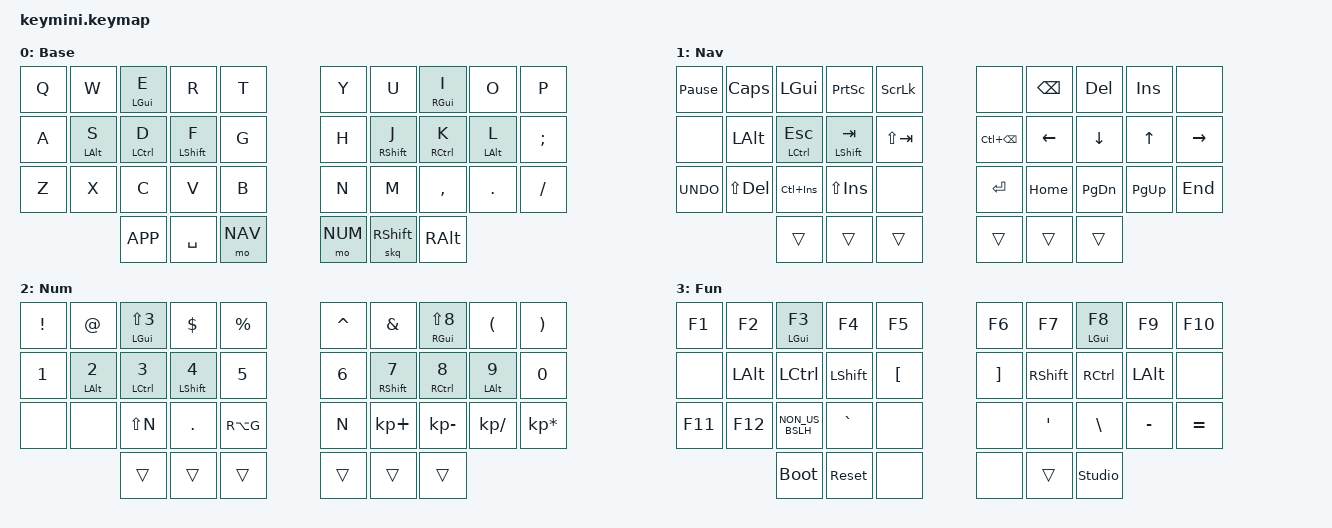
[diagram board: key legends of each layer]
/*
 * SPDX-License-Identifier: MIT
 */

#include <behaviors.dtsi>
#include <dt-bindings/zmk/keys.h>

#define DEF 0
#define NAV 1
#define NUM 2
#define FUN 3

/ {
	behaviors {
		hm: homerow_mods {
			compatible = "zmk,behavior-hold-tap";
			label = "Homerow Mods";
			#binding-cells = <2>;
			flavor = "tap-preferred";
			tapping-term-ms = <200>;
			bindings = <&kp>, <&kp>;
		};
		skq: sticky_key_quick_release {
			compatible = "zmk,behavior-sticky-key";
			label = "Sticky Key Quick Release";
			#binding-cells = <1>;
			bindings = <&kp>;
			release-after-ms = <1000>;
			quick-release;
			ignore-modifiers;
	       };
	};
	conditional_layers {
		compatible = "zmk,conditional-layers";
		tri_layer {
			if-layers = <1 2>;
			then-layer = <3>;
		};
	};

	keymap {
		compatible = "zmk,keymap";

		default_layer {
			display-name = "Base";
			bindings = <
	&kp Q         &kp W         &hm LGUI E    &kp R         &kp T             &kp Y         &kp U         &hm RGUI I    &kp O         &kp P
	&kp A         &hm LALT S    &hm LCTRL D   &hm LSHFT F   &kp G             &kp H         &hm RSHFT J   &hm RCTRL K   &hm LALT L    &kp SEMI
	&kp Z         &kp X         &kp C         &kp V         &kp B             &kp N         &kp M         &kp COMMA     &kp DOT       &kp FSLH
	                            &kp K_APP     &kp SPACE     &mo NAV           &mo NUM       &skq RSHFT    &kp RALT
			>;
		};

		nav_layer {
			display-name = "Nav";
			bindings = <
	&kp PAUSE_BREAK &kp CAPS    &kp LGUI      &kp PSCRN     &kp SLCK          &none         &kp BSPC      &kp DEL       &kp INS       &none
	&none           &kp LALT    &hm LCTRL ESC &hm LSHFT TAB &kp LS(TAB)       &kp LC(BSPC)  &kp LEFT      &kp DOWN      &kp UP        &kp RIGHT
	&kp K_UNDO      &kp LS(DEL) &kp LC(INS)   &kp LS(INS)   &none             &kp RET       &kp HOME      &kp PG_DN     &kp PG_UP     &kp END
	                            &trans        &trans        &trans            &trans        &trans        &trans
			>;
		};

		num_layer {
			display-name = "Num";
			bindings = <
	&kp EXCL      &kp AT        &hm LGUI LS(N3) &kp DLLR    &kp PRCNT         &kp CARET     &kp AMPS      &hm RGUI LS(N8) &kp LPAR    &kp RPAR
	&kp N1        &hm LALT N2   &hm LCTRL N3  &hm LSHFT N4  &kp N5            &kp N6        &hm RSHFT N7  &hm RCTRL N8  &hm LALT N9   &kp N0
	&none         &none         &kp LS(N)     &kp DOT       &kp RA(G)         &kp N         &kp KP_PLUS   &kp KP_MINUS  &kp KP_SLASH  &kp KP_ASTERISK
	                            &trans        &trans        &trans            &trans        &trans        &trans
			>;
		};

		fun_layer {
			display-name = "Fun";
			bindings = <
	&kp F1        &kp F2        &hm LGUI F3   &kp F4        &kp F5            &kp F6        &kp F7        &hm LGUI F8   &kp F9        &kp F10
	&none         &kp LALT      &kp LCTRL     &kp LSHFT     &kp LBKT          &kp RBKT      &kp RSHFT     &kp RCTRL     &kp LALT      &none
	&kp F11       &kp F12       &kp NON_US_BSLH &kp GRAVE   &none             &none         &kp SQT       &kp BSLH      &kp MINUS     &kp EQUAL
	                            &bootloader   &sys_reset    &none             &none         &trans        &studio_unlock
			>;
		};

		extra1 {
			status = "reserved";
		};
	};
};
